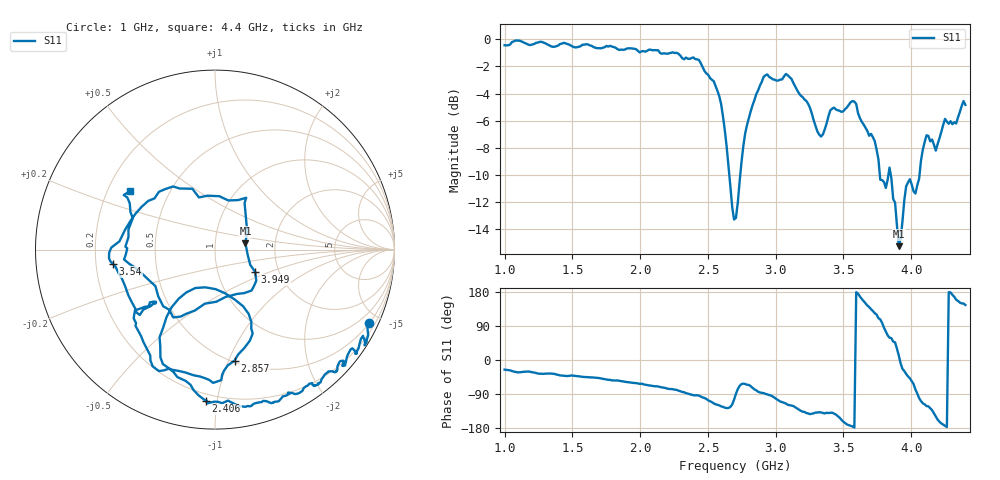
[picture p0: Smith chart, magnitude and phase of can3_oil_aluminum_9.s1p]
# MHz S MA R 50
!  freq  S11
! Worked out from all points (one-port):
!   250 points, 1 GHz to 4.4 GHz, reference 50 ohm
!   lowest |S11| = -15.2 dB at 3.908 GHz (marker M1), VSWR 1.42, Z = 70.2 + j5.18 ohm
!   |S11| at or under -10 dB: 2.658 GHz to 2.739 GHz (80.53 MHz wide, 2.98 % of centre); 3.769 GHz to 3.832 GHz (62.82 MHz wide, 1.65 % of centre); 3.85 GHz to 4.061 GHz (211.5 MHz wide, 5.35 % of centre)
!   S11 on the Smith chart (normalised r, x): 1 GHz: 0.51, -4.39; 2.406 GHz: 0.16, -0.93; 2.857 GHz: 0.51, -1.05; 3.54 GHz: 0.27, -0.06; 3.949 GHz: 1.51, -0.40; 4.4 GHz: 0.30, +0.29
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1000  0.9513 -25.4
1436.948  0.9706 -41.7
1860.241  0.9169 -55.8
2283.534  0.8837 -81.0
2406.426  0.8459 -93.3
2597.59  0.5776 -122.3
2665.863  0.2875 -123.8
2706.827  0.2201 -89.3
2775.1  0.4506 -63.3
2857.028  0.6283 -80.0
2938.956  0.7425 -90.8
3130.12  0.6916 -121.4
3225.703  0.5934 -139.8
3334.94  0.4387 -138.4
3416.867  0.5555 -139.0
3539.759  0.5742 -172.0
3553.414  0.5867 -173.6
3730.924  0.4221 123.6
3771.888  0.3041 107.1
3840.161  0.3371 58.9
3908.434  0.1732 11.9
3949.398  0.2561 -29.1
3976.707  0.2974 -43.2
4031.325  0.2707 -77.7
4126.908  0.4409 -122.3
4181.526  0.3894 -148.5
4249.799  0.5096 -173.8
4400  0.5736 145.2
